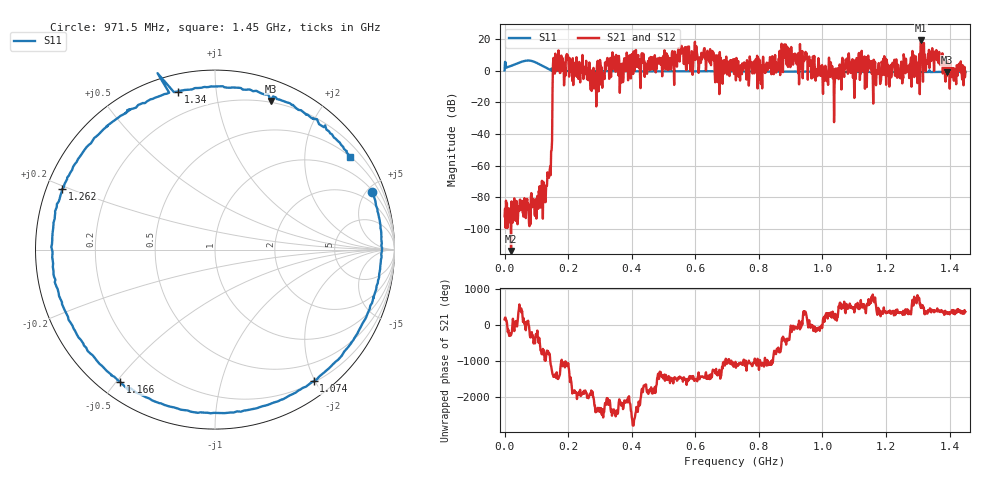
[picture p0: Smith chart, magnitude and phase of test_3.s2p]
! Created with skrf 1.11.0 (http://scikit-rf.org).
# Hz S RI R 50.0
!freq ReS11 ImS11 ReS21 ImS21 ReS12 ImS12 ReS22 ImS22
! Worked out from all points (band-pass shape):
!   1001 points, 50 kHz to 1.45 GHz, reference 50 ohm
!   highest |S21| = 19.08 dB at 1.311 GHz (marker M1); lowest = -114.0 dB at 20.35 MHz (marker M2)
!   |S21| within 3 dB of the highest: 598.3902 MHz to 599.1496 MHz (759.4 kHz wide, 0.127 % of centre); 1.309063 GHz to 1.313825 GHz (4.762 MHz wide, 0.363 % of centre) (the widest 2 of 7)
!   lowest |S11| = -1.1 dB at 1.392 GHz (marker M3), VSWR 16.30, Z = 9.39 + j71.4 ohm
!   |S11| at or under -10 dB: nowhere
!   |S22| runs from - to - dB; largest |S21 - S12| = 0
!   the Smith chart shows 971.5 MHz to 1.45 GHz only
!   S11 on the Smith chart (normalised r, x): 971.5 MHz: 1.12, +5.45; 1.074 GHz: 0.22, -1.98; 1.166 GHz: 0.06, -0.51; 1.262 GHz: 0.05, +0.19; 1.34 GHz: 0.08, +0.79; 1.45 GHz: 0.51, +3.16
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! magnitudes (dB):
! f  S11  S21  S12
! 50 kHz  0.2  -92.0  -92.0
! 20.35 MHz  3.0  -114.0  -114.0
! 133.4 MHz  1.6  -72.6  -72.6
! 142.1 MHz  0.6  -62.6  -62.6
! 159.5 MHz  -0.1  10.7  10.7
! 242.2 MHz  -0.2  0.8  0.8
! 484.3 MHz  -0.4  4.5  4.5
! 561.2 MHz  -0.4  11.2  11.2
! 725 MHz  -0.5  7.4  7.4
! 803.3 MHz  -0.6  -2.7  -2.7
! 877.3 MHz  -0.7  15.1  15.1
! 967.2 MHz  -0.6  5.5  5.5
! 971.5 MHz  -0.6  5.8  5.8
! 1.04 GHz  -0.7  -5.1  -5.1
! 1.074 GHz  -0.8  6.7  6.7
! 1.166 GHz  -0.9  5.5  5.5
! 1.209 GHz  -0.9  1.9  1.9
! 1.262 GHz  -0.8  -1.6  -1.6
! 1.311 GHz  -0.8  19.1  19.1
! 1.34 GHz  -0.9  9.8  9.8
! 1.392 GHz  -1.1  -0.2  -0.2
! 1.45 GHz  -0.8  -0.8  -0.8
